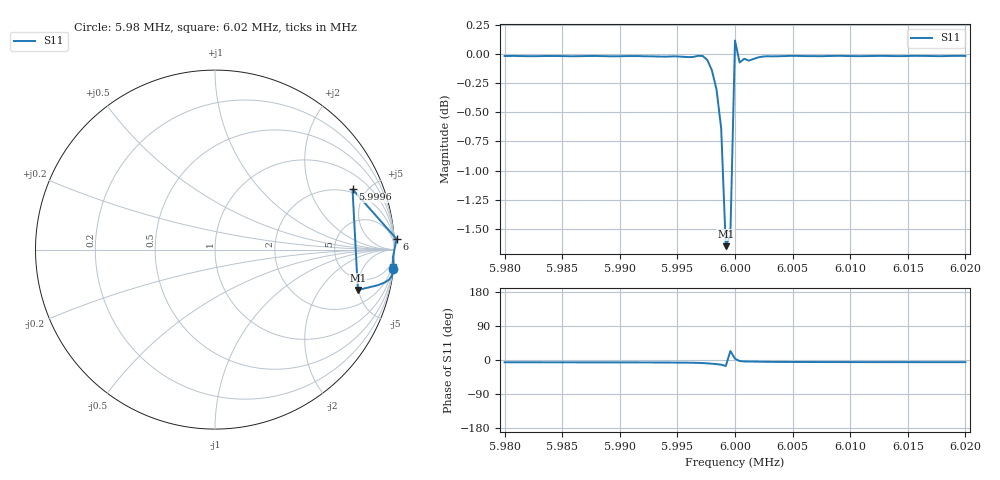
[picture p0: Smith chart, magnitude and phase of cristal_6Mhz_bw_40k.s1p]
# HZ S RI R 50
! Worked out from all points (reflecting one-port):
!   101 points, 5.98 MHz to 6.02 MHz, reference 50 ohm
!   lowest |S11| = -1.6 dB at 5.9992 MHz (marker M1), VSWR 10.58, Z = 171 - j244 ohm
!   phase of S11 starts at -6 deg and turns +0 deg over the sweep
!   S11 on the Smith chart (normalised r, x): 5.98 MHz: 0, -19; 5.9996 MHz: 1.79, +4.01; 6 MHz: -7, +32; 6.02 MHz: 0, -20
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5980000  0.9922 -0.1057
5985200  0.992 -0.1068
5990000  0.9915 -0.1097
5992400  0.9912 -0.1122
5994400  0.9905 -0.1166
5995200  0.9901 -0.1195
5996000  0.9891 -0.1232
5996400  0.9889 -0.1264
5996800  0.9892 -0.1321
5997200  0.9879 -0.1402
5997600  0.9822 -0.1522
5998000  0.9692 -0.1678
5998400  0.9478 -0.1821
5998800  0.9078 -0.1983
5999200  0.7961 -0.2252
5999600  0.7661 0.3365
6000000  1.011 0.0594
6000400  0.9903 -0.0484
6000800  0.9928 -0.0673
6001200  0.9908 -0.0695
6002000  0.9935 -0.0766
6002800  0.9941 -0.0829
6004000  0.9938 -0.0878
6005200  0.9938 -0.0908
6007600  0.9931 -0.0942
6010000  0.9931 -0.0958
6015200  0.9931 -0.0982
6020000  0.9929 -0.0991
